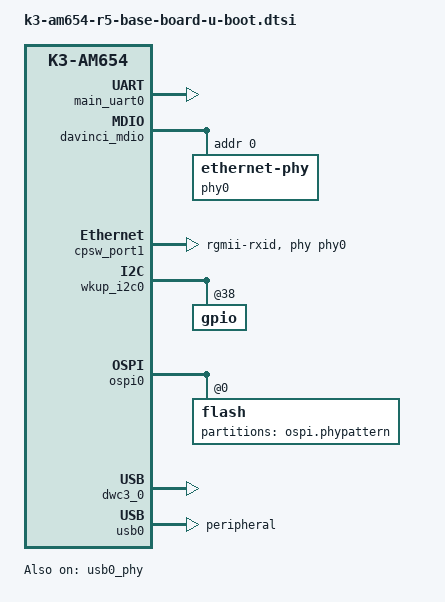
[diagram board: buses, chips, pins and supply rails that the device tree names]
// SPDX-License-Identifier: GPL-2.0
/*
 * Copyright (C) 2021 Texas Instruments Incorporated - http://www.ti.com/
 */

#include <dt-bindings/pinctrl/k3.h>
#include <dt-bindings/net/ti-dp83867.h>

/ {
	chosen {
		stdout-path = "serial2:115200n8";
	};

	board {
		compatible = "ti,am654-evm";
		u-boot,dm-spl;
	};

	aliases {
		serial2 = &main_uart0;
		ethernet0 = &cpsw_port1;
		usb0 = &usb0;
		usb1 = &usb1;
	};
};

&cbass_main{
	u-boot,dm-spl;
};

&cbass_mcu {
	u-boot,dm-spl;

	mcu_navss {
		u-boot,dm-spl;

		ringacc@2b800000 {
			reg =	<0x0 0x2b800000 0x0 0x400000>,
				<0x0 0x2b000000 0x0 0x400000>,
				<0x0 0x28590000 0x0 0x100>,
				<0x0 0x2a500000 0x0 0x40000>,
				<0x0 0x28440000 0x0 0x40000>;
			reg-names = "rt", "fifos", "proxy_gcfg", "proxy_target", "cfg";
			u-boot,dm-spl;
		};

		dma-controller@285c0000 {
			reg =	<0x0 0x285c0000 0x0 0x100>,
				<0x0 0x284c0000 0x0 0x4000>,
				<0x0 0x2a800000 0x0 0x40000>,
				<0x0 0x284a0000 0x0 0x4000>,
				<0x0 0x2aa00000 0x0 0x40000>,
				<0x0 0x28400000 0x0 0x2000>;
			reg-names = "gcfg", "rchan", "rchanrt", "tchan",
					    "tchanrt", "rflow";
			u-boot,dm-spl;
		};
	};
};

&cbass_wakeup {
	u-boot,dm-spl;
};

&secure_proxy_main {
	u-boot,dm-spl;
};

&dmsc {
	u-boot,dm-spl;
	k3_sysreset: sysreset-controller {
		compatible = "ti,sci-sysreset";
		u-boot,dm-spl;
	};
};

&k3_pds {
	u-boot,dm-spl;
};

&k3_clks {
	u-boot,dm-spl;
};

&k3_reset {
	u-boot,dm-spl;
};

&wkup_pmx0 {
	u-boot,dm-spl;

	wkup_i2c0_pins_default {
		u-boot,dm-spl;
	};
};

&main_pmx0 {
	u-boot,dm-spl;
	main_uart0_pins_default: main_uart0_pins_default {
		pinctrl-single,pins = <
			AM65X_IOPAD(0x01e4, PIN_INPUT, 0)	/* (AF11) UART0_RXD */
			AM65X_IOPAD(0x01e8, PIN_OUTPUT, 0)	/* (AE11) UART0_TXD */
			AM65X_IOPAD(0x01ec, PIN_INPUT, 0)	/* (AG11) UART0_CTSn */
			AM65X_IOPAD(0x01f0, PIN_OUTPUT, 0)	/* (AD11) UART0_RTSn */
		>;
		u-boot,dm-spl;
	};

	usb0_pins_default: usb0_pins_default {
		pinctrl-single,pins = <
			AM65X_IOPAD(0x02bc, PIN_OUTPUT, 0) /* (AD9) USB0_DRVVBUS */
		>;
		u-boot,dm-spl;
	};
};

&main_pmx1 {
	u-boot,dm-spl;
};

&wkup_pmx0 {
	mcu_cpsw_pins_default: mcu_cpsw_pins_default {
		pinctrl-single,pins = <
			AM65X_WKUP_IOPAD(0x0058, PIN_OUTPUT, 0) /* (N4) MCU_RGMII1_TX_CTL */
			AM65X_WKUP_IOPAD(0x005c, PIN_INPUT, 0) /* (N5) MCU_RGMII1_RX_CTL */
			AM65X_WKUP_IOPAD(0x0060, PIN_OUTPUT, 0) /* (M2) MCU_RGMII1_TD3 */
			AM65X_WKUP_IOPAD(0x0064, PIN_OUTPUT, 0) /* (M3) MCU_RGMII1_TD2 */
			AM65X_WKUP_IOPAD(0x0068, PIN_OUTPUT, 0) /* (M4) MCU_RGMII1_TD1 */
			AM65X_WKUP_IOPAD(0x006c, PIN_OUTPUT, 0) /* (M5) MCU_RGMII1_TD0 */
			AM65X_WKUP_IOPAD(0x0078, PIN_INPUT, 0) /* (L2) MCU_RGMII1_RD3 */
			AM65X_WKUP_IOPAD(0x007c, PIN_INPUT, 0) /* (L5) MCU_RGMII1_RD2 */
			AM65X_WKUP_IOPAD(0x0080, PIN_INPUT, 0) /* (M6) MCU_RGMII1_RD1 */
			AM65X_WKUP_IOPAD(0x0084, PIN_INPUT, 0) /* (L6) MCU_RGMII1_RD0 */
			AM65X_WKUP_IOPAD(0x0070, PIN_INPUT, 0) /* (N1) MCU_RGMII1_TXC */
			AM65X_WKUP_IOPAD(0x0074, PIN_INPUT, 0) /* (M1) MCU_RGMII1_RXC */
		>;
	};

	mcu_mdio_pins_default: mcu_mdio1_pins_default {
		pinctrl-single,pins = <
			AM65X_WKUP_IOPAD(0x008c, PIN_OUTPUT, 0) /* (L1) MCU_MDIO0_MDC */
			AM65X_WKUP_IOPAD(0x0088, PIN_INPUT, 0) /* (L4) MCU_MDIO0_MDIO */
		>;
	};

	mcu-fss0-ospi0-pins-default {
		u-boot,dm-spl;
	};
};

&main_uart0 {
	u-boot,dm-spl;
	pinctrl-names = "default";
	pinctrl-0 = <&main_uart0_pins_default>;
	status = "okay";
};

&main_mmc0_pins_default {
	u-boot,dm-spl;
};

&main_mmc1_pins_default {
	u-boot,dm-spl;
};

&sdhci0 {
	u-boot,dm-spl;
};

&sdhci1 {
	u-boot,dm-spl;
};

&mcu_cpsw {
	pinctrl-names = "default";
	pinctrl-0 = <&mcu_cpsw_pins_default &mcu_mdio_pins_default>;
};

&davinci_mdio {
	phy0: ethernet-phy@0 {
		reg = <0>;
		/* TODO: phy reset: TCA9555RTWR(i2c:0x21)[p04].GPIO_MCU_RGMII_RSTN */
		ti,rx-internal-delay = <DP83867_RGMIIDCTL_2_00_NS>;
		ti,fifo-depth = <DP83867_PHYCR_FIFO_DEPTH_4_B_NIB>;
	};
};

&cpsw_port1 {
	phy-mode = "rgmii-rxid";
	phy-handle = <&phy0>;
};

&mcu_cpsw {
	reg = <0x0 0x46000000 0x0 0x200000>,
	      <0x0 0x40f00200 0x0 0x2>;
	reg-names = "cpsw_nuss", "mac_efuse";
	/delete-property/ ranges;

	cpsw-phy-sel@40f04040 {
		compatible = "ti,am654-cpsw-phy-sel";
		reg= <0x0 0x40f04040 0x0 0x4>;
		reg-names = "gmii-sel";
	};
};

&wkup_i2c0 {
	u-boot,dm-spl;
	gpio@38 {
		u-boot,dm-spl;
	};
};


&fss {
	u-boot,dm-spl;
};

&ospi0 {
	u-boot,dm-spl;

	 flash@0{
		u-boot,dm-spl;

		partition@3fe0000 {
			label = "ospi.phypattern";
			reg = <0x3fe0000 0x20000>;
			u-boot,dm-spl;
		};
	};
};

&chipid {
	u-boot,dm-spl;
};

&dwc3_0 {
	status = "okay";
	u-boot,dm-spl;
};

&usb0_phy {
	status = "okay";
	u-boot,dm-spl;
};

&usb0 {
	pinctrl-names = "default";
	pinctrl-0 = <&usb0_pins_default>;
	dr_mode = "peripheral";
	u-boot,dm-spl;
};

&scm_conf {
	u-boot,dm-spl;
};

&pru0_0 {
	remoteproc-name = "pru0_0";
};

&rtu0_0 {
	remoteproc-name = "rtu0_0";
};

&tx_pru0_0 {
	remoteproc-name = "tx_pru0_0";
};

&pru0_1 {
	remoteproc-name = "pru0_1";
};

&rtu0_1 {
	remoteproc-name = "rtu0_1";
};

&tx_pru0_1 {
	remoteproc-name = "tx_pru0_1";
};

&pru1_0 {
	remoteproc-name = "pru1_0";
};

&rtu1_0 {
	remoteproc-name = "rtu1_0";
};

&tx_pru1_0 {
	remoteproc-name = "tx_pru1_0";
};

&pru1_1 {
	remoteproc-name = "pru1_1";
};

&rtu1_1 {
	remoteproc-name = "rtu1_1";
};

&tx_pru1_1 {
	remoteproc-name = "tx_pru1_1";
};

&pru2_0 {
	remoteproc-name = "pru2_0";
};

&rtu2_0 {
	remoteproc-name = "rtu2_0";
};

&tx_pru2_0 {
	remoteproc-name = "tx_pru2_0";
};

&pru2_1 {
	remoteproc-name = "pru2_1";
};

&rtu2_1 {
	remoteproc-name = "rtu2_1";
};

&tx_pru2_1 {
	remoteproc-name = "tx_pru2_1";
};
